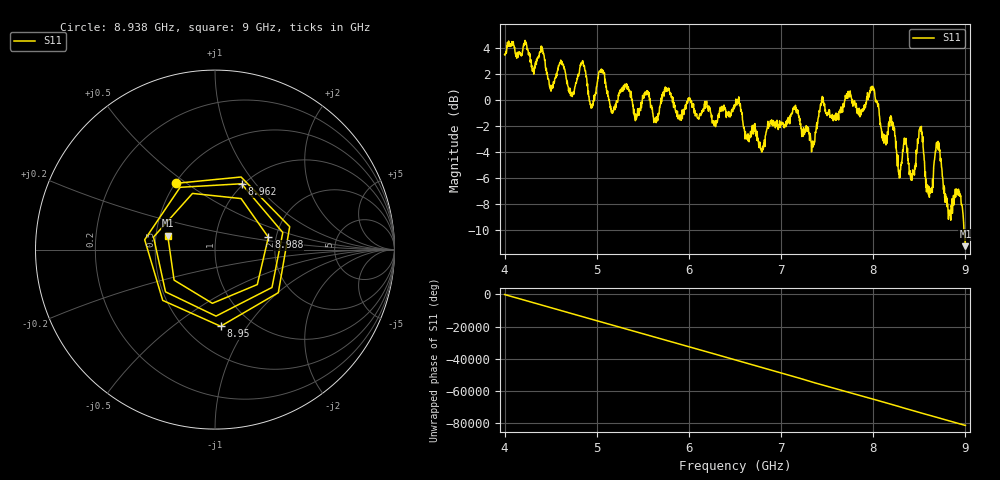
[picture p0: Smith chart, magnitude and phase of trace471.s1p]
! Created with skrf 1.8.0 (http://scikit-rf.org).
# Hz S RI R 50.0
!freq ReS11 ImS11
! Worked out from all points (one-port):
!   1601 points, 4 GHz to 9 GHz, reference 50 ohm
!   lowest |S11| = -11.2 dB at 9 GHz (marker M1), VSWR 1.76, Z = 28.8 + j4.89 ohm
!   |S11| at or under -10 dB: 8.984872 GHz to end of sweep
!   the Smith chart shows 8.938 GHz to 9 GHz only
!   S11 on the Smith chart (normalised r, x): 8.938 GHz: 0.51, +0.46; 8.95 GHz: 0.73, -0.76; 8.962 GHz: 0.98, +0.85; 8.988 GHz: 1.82, +0.28; 9 GHz: 0.58, +0.10
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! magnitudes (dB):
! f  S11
! 4 GHz  3.5
! 4.625 GHz  2.7
! 4.728 GHz  0.5
! 4.853 GHz  2.8
! 4.944 GHz  -0.4
! 5.044 GHz  2.1
! 5.162 GHz  -0.8
! 5.25 GHz  0.7
! 5.875 GHz  -0.9
! 6.5 GHz  -0.4
! 6.784 GHz  -3.9
! 7.125 GHz  -0.9
! 7.344 GHz  -3.4
! 7.447 GHz  0.3
! 7.75 GHz  0.7
! 7.994 GHz  1.0
! 8.281 GHz  -5.4
! 8.375 GHz  -4.6
! 8.431 GHz  -5.7
! 8.512 GHz  -2.1
! 8.597 GHz  -7.2
! 8.697 GHz  -3.3
! 8.816 GHz  -9.2
! 8.938 GHz  -7.4
! 8.95 GHz  -7.4
! 8.962 GHz  -8.1
! 8.988 GHz  -10.3
! 9 GHz  -11.2
